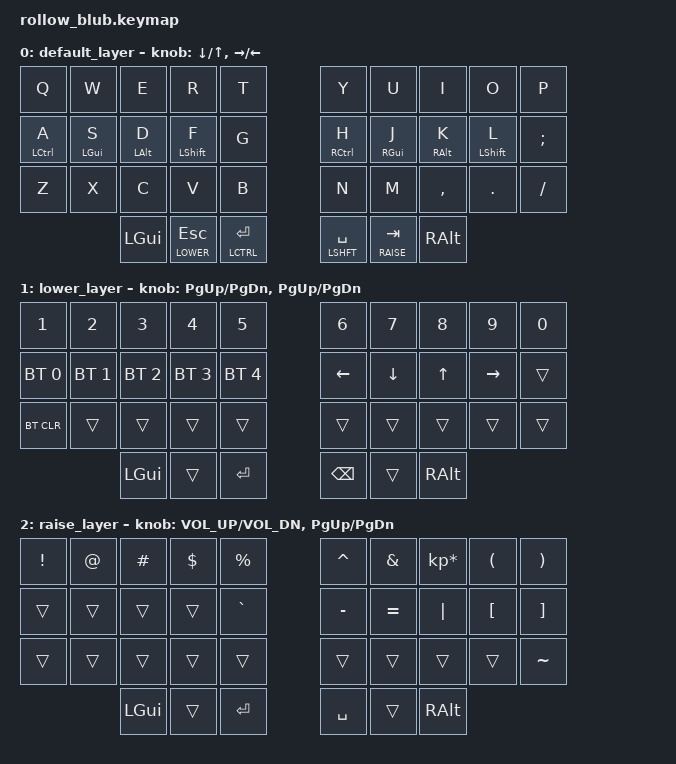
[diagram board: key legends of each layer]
/*
 * Copyright (c) 2020 The ZMK Contributors
 *
 * SPDX-License-Identifier: MIT
 */

#include <behaviors.dtsi>
#include <dt-bindings/zmk/keys.h>
#include <dt-bindings/zmk/bt.h>

#define LOWER 1
#define RAISE 2

/ {
/*
      // Macros are not supported in the current fork for Rollow :'-(
      macros {
      ctrl_alt_del: ctrl_alt_del {
        label = "ZM_ctrl_alt_del";
        compatible = "zmk,behavior-macro";
        #binding-cells = <0>;
        bindings
          = <&macro_press &kp LCTRL>
          , <&macro_press &kp LALT>
          , <&macro_tap &kp DEL>
          , <&macro_release &kp LCTRL>
          , <&macro_release &kp LALT>
          ;
        };
    };
*/
    combos {
      compatible = "zmk,combos";
      combo_esc {
        timeout-ms = <50>;
        key-positions = <0 1>;
        bindings = <&kp ESC>;
      };
    };
    behaviors {
      bhm: balanced_homerow_mods {
          compatible = "zmk,behavior-hold-tap";
          label = "HOMEROW_MODS";
          #binding-cells = <2>;
          tapping-term-ms = <200>;    // <---[[moderate duration]]
          quick-tap-ms = <0>;
          flavor = "balanced";
          bindings = <&kp>, <&kp>;
      };
    };

        keymap {
                compatible = "zmk,keymap";

                default_layer {
/* Default
 * .----------------------------------.                           .---------------------------------.
 * |  Q  |   W  |   E  |   R  |   T  |                            |   Y  |   U  |   I  |   O  |   P  |
 * |-----+------+------+------+------|                            |------+------+------+------+------|
 * |  A  |   S  |   D  |   F  |   G  |                            |   H  |   J  |   K  |   L  |   ;  |
 * |-----+------+------+------+------|                            |------+------+------+------+------|
 * |  Z  |   X  |   C  |   V  |   B  |-------.             .------|   N  |   M  |   ,  |   .  |   /  |
 * '---------------------------------/       /              \      \---------------------------------'
 *                  |  GUI |  LWR | / Enter /                \ Space\  |TT(RS)| Tab  |
 *                  |      |      |/       /                  \      \ |      |      |
 *                  '-------------''------'                    '------''-------------'
 *
 *   Encoder Left: Up <-> Down
 *   Encoder Right: Left <-> Right
 */
                        bindings = <

   &kp Q        &kp W       &kp E       &kp R         &kp T   &kp Y         &kp U       &kp I       &kp O         &kp P
   &bhm LCTRL A &bhm LGUI S &bhm LALT D &bhm LSHFT F  &kp G   &bhm RCTRL H  &bhm RGUI J &bhm RALT K &bhm LSHFT L  &kp SEMI
   &kp Z        &kp X       &kp C       &kp V         &kp B   &kp N         &kp M       &kp COMMA   &kp DOT       &kp FSLH
                  &kp LGUI &lt LOWER ESC &lt LCTRL RET   &lt LSHFT SPACE &lt RAISE TAB &kp RALT
                        >;

                        sensor-bindings = <&inc_dec_kp DOWN UP &inc_dec_kp RIGHT LEFT>;
                };

                lower_layer {
/* LOWER
 * .-----------------------------------------.                    .-----------------------------------------.
 * |  ESC |   1  |  2   |  3   |  4   |  5   |                    |   6  |   7  |   8  |   9  |   0  | BKSP |
 * |------+------+------+------+------+------|                    |------+------+------+------+------+------|
 * | BTCLR| BT1  | BT2  | BT3  | BT4  | BT5  |                    |  LFT |  DWN |   UP |  RGT |      |      |
 * |------+------+------+------+------+------|                    |------+------+------+------+------+------|
 * | SHFT |      |      |      |      |      |-------.    .-------|      |      |      |      |      |      |
 * '-----------------------------------------/       /     \      \-----------------------------------------'
 *                          |  GUI |      | / Space /       \ Enter\  |      |  ALT |
 *                          |      |      |/       /         \      \ |      |      |
 *                          '-------------''------'           '------''-------------'
 *
 *   Encoder Left: PG_UP <-> PG_DN
 *   Encoder Right: -
 */
                        bindings = <
    &kp N1       &kp N2       &kp N3       &kp N4       &kp N5            &kp N6   &kp N7 &kp N8 &kp N9    &kp N0
    &bt BT_SEL 0 &bt BT_SEL 1 &bt BT_SEL 2 &bt BT_SEL 3 &bt BT_SEL 4      &kp LEFT &kp DOWN &kp UP &kp RIGHT &trans
    &bt BT_CLR   &trans       &trans       &trans       &trans            &trans   &trans &trans &trans    &trans
                                        &kp LGUI     &trans       &kp RET         &kp BSPC &trans &kp RALT
                            >;

                            sensor-bindings = <&inc_dec_kp PG_UP PG_DN &inc_dec_kp PG_UP PG_DN>;
                };

                raise_layer {
/* RAISE
 * .-----------------------------------------.                    .-----------------------------------------.
 * | ESC  |   !  |   @  |   #  |   $  |   %  |                    |   ^  |   &  |   *  |   (  |   )  | BKSP |
 * |------+------+------+------+------+------|                    |------+------+------+------+------+------|
 * | CTRL |      |      | Prev | Next |      |                    |   -  |   =  |  "|" |   {  |   }  |  --- |
 * |------+------+------+------+------+------|                    |------+------+------+------+------+------|
 * | SHFT |      |      |      |      |      |-------.    .-------|   _  |   +  |   \  |   [  |   ]  |  --- |
 * '-----------------------------------------/       /     \      \-----------------------------------------'
 *                          | Play |      | / Space /       \ Enter\  |      |  ALT |
 *                          | Paus |      |/       /         \      \ |      |      |
 *                          '------------''------'            '------''-------------'
 *
 *   Encoder Left: -
 *   Encoder Right: VOL_UP <-> VOL_D
 */
                        bindings = <
    &kp EXCL  &kp AT  &kp HASH   &kp DLLR   &kp PRCNT   &kp CARET &kp AMPS  &kp KP_MULTIPLY &kp LPAR &kp RPAR
    &trans    &trans  &trans     &trans     &kp GRAVE   &kp MINUS &kp EQUAL &kp PIPE &kp LBKT &kp RBKT
    &trans    &trans  &trans     &trans     &trans      &trans    &trans    &trans &trans &kp TILDE
                                   &kp LGUI &trans &kp RET   &kp SPACE &trans &kp RALT
                        >;

                        sensor-bindings = <&inc_dec_kp C_VOL_UP C_VOL_DN &inc_dec_kp PG_UP PG_DN>;
                };

        };
};
